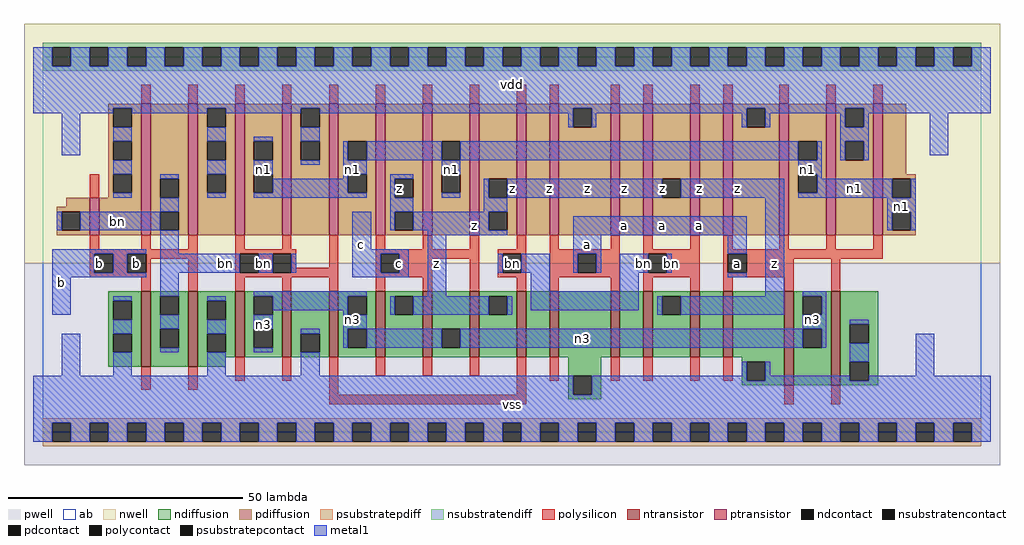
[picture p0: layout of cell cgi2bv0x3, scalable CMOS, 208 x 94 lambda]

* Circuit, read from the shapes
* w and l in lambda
.subckt cgi2bv0x3 a b bn c n1 n3 vdd vss z
M1 bn b vss vss nfet w=16 l=2 m=2
M2 n3 bn vss vss nfet w=14 l=2 m=3
M3 z c n3 vss nfet w=14 l=2 m=3
M4 n2 bn z vss nfet w=14 l=2
M5 vss a n2 vss nfet w=14 l=2
M6 n4 a vss vss nfet w=14 l=2
M7 z bn n4 vss nfet w=14 l=2
M8 n5 bn z vss nfet w=14 l=2
M9 vss a n5 vss nfet w=14 l=2
M10 n3 a vss vss nfet w=20 l=2 m=2
M11 vdd b bn vdd pfet w=8 l=2
M12 bn b vdd vdd pfet w=28 l=2 m=2
M13 n1 bn vdd vdd pfet w=28 l=2 m=3
M14 z c n1 vdd pfet w=28 l=2 m=3
M15 n6 bn z vdd pfet w=28 l=2
M16 vdd a n6 vdd pfet w=28 l=2
M17 n7 a vdd vdd pfet w=28 l=2
M18 z bn n7 vdd pfet w=28 l=2
M19 n8 bn z vdd pfet w=28 l=2
M20 vdd a n8 vdd pfet w=28 l=2
M21 n1 a vdd vdd pfet w=28 l=2 m=3
.ends

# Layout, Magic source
magic
tech scmos
<< ab >>
rect 0 0 200 80
<< pwell >>
rect -4 -7 204 36
<< nwell >>
rect -4 36 204 87
<< polysilicon >>
rect 21 70 23 74
rect 31 70 33 74
rect 41 70 43 74
rect 51 70 53 74
rect 61 70 63 74
rect 71 70 73 74
rect 81 70 83 74
rect 91 70 93 74
rect 101 70 103 74
rect 108 70 110 74
rect 121 70 123 74
rect 128 70 130 74
rect 138 70 140 74
rect 145 70 147 74
rect 157 70 159 74
rect 167 70 169 74
rect 177 70 179 74
rect 10 50 12 55
rect 10 39 12 42
rect 21 39 23 42
rect 31 39 33 42
rect 10 38 33 39
rect 10 34 11 38
rect 15 34 18 38
rect 22 37 33 38
rect 22 34 23 37
rect 10 33 23 34
rect 21 30 23 33
rect 31 30 33 37
rect 41 39 43 42
rect 51 39 53 42
rect 41 38 54 39
rect 41 34 42 38
rect 46 34 49 38
rect 53 35 54 38
rect 61 35 63 42
rect 53 34 63 35
rect 41 33 63 34
rect 41 30 43 33
rect 51 30 53 33
rect 61 30 63 33
rect 71 39 73 42
rect 81 39 83 42
rect 91 39 93 42
rect 101 39 103 42
rect 71 38 93 39
rect 71 34 72 38
rect 76 37 93 38
rect 76 34 83 37
rect 71 33 83 34
rect 71 30 73 33
rect 81 30 83 33
rect 91 30 93 37
rect 97 38 103 39
rect 97 34 98 38
rect 102 34 103 38
rect 97 33 103 34
rect 101 30 103 33
rect 108 39 110 42
rect 121 39 123 42
rect 108 38 123 39
rect 108 34 114 38
rect 118 34 123 38
rect 108 33 123 34
rect 108 30 110 33
rect 121 30 123 33
rect 128 39 130 42
rect 138 39 140 42
rect 128 38 140 39
rect 128 34 129 38
rect 133 34 140 38
rect 128 33 140 34
rect 128 30 130 33
rect 138 30 140 33
rect 145 39 147 42
rect 157 39 159 42
rect 167 39 169 42
rect 177 39 179 42
rect 145 38 179 39
rect 145 34 146 38
rect 150 37 179 38
rect 150 34 160 37
rect 145 33 160 34
rect 145 30 147 33
rect 158 30 160 33
rect 168 30 170 37
rect 21 9 23 14
rect 31 9 33 14
rect 41 11 43 16
rect 51 11 53 16
rect 61 8 63 16
rect 71 12 73 16
rect 81 12 83 16
rect 91 12 93 16
rect 101 8 103 16
rect 108 11 110 16
rect 61 6 103 8
rect 121 11 123 16
rect 128 11 130 16
rect 138 11 140 16
rect 145 11 147 16
rect 158 6 160 10
rect 168 6 170 10
<< ndiffusion >>
rect 14 28 21 30
rect 14 24 15 28
rect 19 24 21 28
rect 14 21 21 24
rect 14 17 15 21
rect 19 17 21 21
rect 14 14 21 17
rect 23 29 31 30
rect 23 25 25 29
rect 29 25 31 29
rect 23 22 31 25
rect 23 18 25 22
rect 29 18 31 22
rect 23 14 31 18
rect 33 28 41 30
rect 33 24 35 28
rect 39 24 41 28
rect 33 21 41 24
rect 33 17 35 21
rect 39 17 41 21
rect 33 16 41 17
rect 43 29 51 30
rect 43 25 45 29
rect 49 25 51 29
rect 43 22 51 25
rect 43 18 45 22
rect 49 18 51 22
rect 43 16 51 18
rect 53 21 61 30
rect 53 17 55 21
rect 59 17 61 21
rect 53 16 61 17
rect 63 29 71 30
rect 63 25 65 29
rect 69 25 71 29
rect 63 22 71 25
rect 63 18 65 22
rect 69 18 71 22
rect 63 16 71 18
rect 73 29 81 30
rect 73 25 75 29
rect 79 25 81 29
rect 73 16 81 25
rect 83 22 91 30
rect 83 18 85 22
rect 89 18 91 22
rect 83 16 91 18
rect 93 29 101 30
rect 93 25 95 29
rect 99 25 101 29
rect 93 16 101 25
rect 103 16 108 30
rect 110 16 121 30
rect 123 16 128 30
rect 130 29 138 30
rect 130 25 132 29
rect 136 25 138 29
rect 130 16 138 25
rect 140 16 145 30
rect 147 16 158 30
rect 33 14 39 16
rect 112 12 119 16
rect 112 8 113 12
rect 117 8 119 12
rect 149 15 158 16
rect 149 11 150 15
rect 154 11 158 15
rect 149 10 158 11
rect 160 29 168 30
rect 160 25 162 29
rect 166 25 168 29
rect 160 22 168 25
rect 160 18 162 22
rect 166 18 168 22
rect 160 10 168 18
rect 170 23 178 30
rect 170 19 172 23
rect 176 19 178 23
rect 170 15 178 19
rect 170 11 172 15
rect 176 11 178 15
rect 170 10 178 11
rect 112 7 119 8
<< pdiffusion >>
rect 14 69 21 70
rect 14 65 15 69
rect 19 65 21 69
rect 14 62 21 65
rect 14 58 15 62
rect 19 58 21 62
rect 14 55 21 58
rect 14 51 15 55
rect 19 51 21 55
rect 14 50 21 51
rect 5 48 10 50
rect 3 47 10 48
rect 3 43 4 47
rect 8 43 10 47
rect 3 42 10 43
rect 12 42 21 50
rect 23 54 31 70
rect 23 50 25 54
rect 29 50 31 54
rect 23 47 31 50
rect 23 43 25 47
rect 29 43 31 47
rect 23 42 31 43
rect 33 69 41 70
rect 33 65 35 69
rect 39 65 41 69
rect 33 62 41 65
rect 33 58 35 62
rect 39 58 41 62
rect 33 55 41 58
rect 33 51 35 55
rect 39 51 41 55
rect 33 42 41 51
rect 43 62 51 70
rect 43 58 45 62
rect 49 58 51 62
rect 43 55 51 58
rect 43 51 45 55
rect 49 51 51 55
rect 43 42 51 51
rect 53 69 61 70
rect 53 65 55 69
rect 59 65 61 69
rect 53 62 61 65
rect 53 58 55 62
rect 59 58 61 62
rect 53 42 61 58
rect 63 62 71 70
rect 63 58 65 62
rect 69 58 71 62
rect 63 55 71 58
rect 63 51 65 55
rect 69 51 71 55
rect 63 42 71 51
rect 73 54 81 70
rect 73 50 75 54
rect 79 50 81 54
rect 73 47 81 50
rect 73 43 75 47
rect 79 43 81 47
rect 73 42 81 43
rect 83 62 91 70
rect 83 58 85 62
rect 89 58 91 62
rect 83 55 91 58
rect 83 51 85 55
rect 89 51 91 55
rect 83 42 91 51
rect 93 54 101 70
rect 93 50 95 54
rect 99 50 101 54
rect 93 47 101 50
rect 93 43 95 47
rect 99 43 101 47
rect 93 42 101 43
rect 103 42 108 70
rect 110 69 121 70
rect 110 65 113 69
rect 117 65 121 69
rect 110 42 121 65
rect 123 42 128 70
rect 130 54 138 70
rect 130 50 132 54
rect 136 50 138 54
rect 130 42 138 50
rect 140 42 145 70
rect 147 69 157 70
rect 147 65 150 69
rect 154 65 157 69
rect 147 42 157 65
rect 159 62 167 70
rect 159 58 161 62
rect 165 58 167 62
rect 159 55 167 58
rect 159 51 161 55
rect 165 51 167 55
rect 159 42 167 51
rect 169 69 177 70
rect 169 65 171 69
rect 175 65 177 69
rect 169 62 177 65
rect 169 58 171 62
rect 175 58 177 62
rect 169 42 177 58
rect 179 55 184 70
rect 179 54 186 55
rect 179 50 181 54
rect 185 50 186 54
rect 179 47 186 50
rect 179 43 181 47
rect 185 43 186 47
rect 179 42 186 43
<< metal1 >>
rect -2 78 2 82
rect 6 78 10 82
rect 14 78 18 82
rect 22 78 26 82
rect 30 78 34 82
rect 38 78 42 82
rect 46 78 50 82
rect 54 78 58 82
rect 62 78 66 82
rect 70 78 74 82
rect 78 78 82 82
rect 86 78 90 82
rect 94 78 98 82
rect 102 78 106 82
rect 110 78 114 82
rect 118 78 122 82
rect 126 78 130 82
rect 134 78 138 82
rect 142 78 146 82
rect 150 78 154 82
rect 158 78 162 82
rect 166 78 170 82
rect 174 78 178 82
rect 182 78 186 82
rect 190 78 194 82
rect 198 78 202 82
rect -2 69 202 78
rect -2 68 15 69
rect 4 59 8 68
rect 19 68 35 69
rect 15 62 19 65
rect 15 55 19 58
rect 39 68 55 69
rect 35 62 39 65
rect 59 68 113 69
rect 112 65 113 68
rect 117 68 150 69
rect 117 65 118 68
rect 149 65 150 68
rect 154 68 171 69
rect 154 65 155 68
rect 170 65 171 68
rect 175 68 202 69
rect 175 65 176 68
rect 35 55 39 58
rect 15 50 19 51
rect 25 54 29 55
rect 35 50 39 51
rect 45 62 49 63
rect 45 55 49 58
rect 55 62 59 65
rect 170 62 176 65
rect 55 57 59 58
rect 64 58 65 62
rect 69 58 85 62
rect 89 58 161 62
rect 165 58 166 62
rect 170 58 171 62
rect 175 58 176 62
rect 189 59 193 68
rect 64 55 69 58
rect 85 55 89 58
rect 64 54 65 55
rect 49 51 65 54
rect 45 50 69 51
rect 74 54 79 55
rect 74 50 75 54
rect 161 55 166 58
rect 85 50 89 51
rect 94 50 95 54
rect 99 50 132 54
rect 136 50 158 54
rect 165 54 166 55
rect 165 51 181 54
rect 161 50 181 51
rect 185 50 186 54
rect 25 47 29 50
rect 74 47 79 50
rect 94 47 99 50
rect 3 43 4 47
rect 8 43 25 47
rect 2 38 22 39
rect 2 34 11 38
rect 15 34 18 38
rect 2 33 22 34
rect 25 38 29 43
rect 66 39 70 47
rect 74 43 75 47
rect 79 43 95 47
rect 82 42 99 43
rect 113 42 150 46
rect 66 38 78 39
rect 25 34 42 38
rect 46 34 49 38
rect 53 34 54 38
rect 66 34 72 38
rect 76 34 78 38
rect 2 25 6 33
rect 25 29 29 34
rect 66 33 78 34
rect 45 29 69 30
rect 82 29 86 42
rect 113 38 119 42
rect 146 38 150 42
rect 97 34 98 38
rect 102 34 108 38
rect 113 34 114 38
rect 118 34 119 38
rect 123 34 129 38
rect 133 34 134 38
rect 104 30 108 34
rect 123 30 127 34
rect 146 33 150 34
rect 15 28 19 29
rect 15 21 19 24
rect 4 12 8 21
rect 25 22 29 25
rect 25 17 29 18
rect 35 28 39 29
rect 35 21 39 24
rect 49 26 65 29
rect 45 22 49 25
rect 64 25 65 26
rect 74 25 75 29
rect 79 25 95 29
rect 99 25 100 29
rect 104 26 127 30
rect 154 29 158 50
rect 180 47 186 50
rect 180 43 181 47
rect 185 43 186 47
rect 131 25 132 29
rect 136 25 158 29
rect 162 29 167 30
rect 166 25 167 29
rect 64 22 69 25
rect 162 22 167 25
rect 45 17 49 18
rect 55 21 59 22
rect 64 18 65 22
rect 69 18 85 22
rect 89 18 162 22
rect 166 18 167 22
rect 172 23 176 24
rect 15 12 19 17
rect 35 12 39 17
rect 55 12 59 17
rect 172 15 176 19
rect 149 12 150 15
rect -2 8 113 12
rect 117 11 150 12
rect 154 12 155 15
rect 154 11 172 12
rect 186 12 190 21
rect 176 11 202 12
rect 117 8 202 11
rect -2 2 202 8
rect -2 -2 2 2
rect 6 -2 10 2
rect 14 -2 18 2
rect 22 -2 26 2
rect 30 -2 34 2
rect 38 -2 42 2
rect 46 -2 50 2
rect 54 -2 58 2
rect 62 -2 66 2
rect 70 -2 74 2
rect 78 -2 82 2
rect 86 -2 90 2
rect 94 -2 98 2
rect 102 -2 106 2
rect 110 -2 114 2
rect 118 -2 122 2
rect 126 -2 130 2
rect 134 -2 138 2
rect 142 -2 146 2
rect 150 -2 154 2
rect 158 -2 162 2
rect 166 -2 170 2
rect 174 -2 178 2
rect 182 -2 186 2
rect 190 -2 194 2
rect 198 -2 202 2
<< ntransistor >>
rect 21 14 23 30
rect 31 14 33 30
rect 41 16 43 30
rect 51 16 53 30
rect 61 16 63 30
rect 71 16 73 30
rect 81 16 83 30
rect 91 16 93 30
rect 101 16 103 30
rect 108 16 110 30
rect 121 16 123 30
rect 128 16 130 30
rect 138 16 140 30
rect 145 16 147 30
rect 158 10 160 30
rect 168 10 170 30
<< ptransistor >>
rect 10 42 12 50
rect 21 42 23 70
rect 31 42 33 70
rect 41 42 43 70
rect 51 42 53 70
rect 61 42 63 70
rect 71 42 73 70
rect 81 42 83 70
rect 91 42 93 70
rect 101 42 103 70
rect 108 42 110 70
rect 121 42 123 70
rect 128 42 130 70
rect 138 42 140 70
rect 145 42 147 70
rect 157 42 159 70
rect 167 42 169 70
rect 177 42 179 70
<< polycontact >>
rect 11 34 15 38
rect 18 34 22 38
rect 42 34 46 38
rect 49 34 53 38
rect 72 34 76 38
rect 98 34 102 38
rect 114 34 118 38
rect 129 34 133 38
rect 146 34 150 38
<< ndcontact >>
rect 15 24 19 28
rect 15 17 19 21
rect 25 25 29 29
rect 25 18 29 22
rect 35 24 39 28
rect 35 17 39 21
rect 45 25 49 29
rect 45 18 49 22
rect 55 17 59 21
rect 65 25 69 29
rect 65 18 69 22
rect 75 25 79 29
rect 85 18 89 22
rect 95 25 99 29
rect 132 25 136 29
rect 113 8 117 12
rect 150 11 154 15
rect 162 25 166 29
rect 162 18 166 22
rect 172 19 176 23
rect 172 11 176 15
<< pdcontact >>
rect 15 65 19 69
rect 15 58 19 62
rect 15 51 19 55
rect 4 43 8 47
rect 25 50 29 54
rect 25 43 29 47
rect 35 65 39 69
rect 35 58 39 62
rect 35 51 39 55
rect 45 58 49 62
rect 45 51 49 55
rect 55 65 59 69
rect 55 58 59 62
rect 65 58 69 62
rect 65 51 69 55
rect 75 50 79 54
rect 75 43 79 47
rect 85 58 89 62
rect 85 51 89 55
rect 95 50 99 54
rect 95 43 99 47
rect 113 65 117 69
rect 132 50 136 54
rect 150 65 154 69
rect 161 58 165 62
rect 161 51 165 55
rect 171 65 175 69
rect 171 58 175 62
rect 181 50 185 54
rect 181 43 185 47
<< psubstratepcontact >>
rect 2 -2 6 2
rect 10 -2 14 2
rect 18 -2 22 2
rect 26 -2 30 2
rect 34 -2 38 2
rect 42 -2 46 2
rect 50 -2 54 2
rect 58 -2 62 2
rect 66 -2 70 2
rect 74 -2 78 2
rect 82 -2 86 2
rect 90 -2 94 2
rect 98 -2 102 2
rect 106 -2 110 2
rect 114 -2 118 2
rect 122 -2 126 2
rect 130 -2 134 2
rect 138 -2 142 2
rect 146 -2 150 2
rect 154 -2 158 2
rect 162 -2 166 2
rect 170 -2 174 2
rect 178 -2 182 2
rect 186 -2 190 2
rect 194 -2 198 2
<< nsubstratencontact >>
rect 2 78 6 82
rect 10 78 14 82
rect 18 78 22 82
rect 26 78 30 82
rect 34 78 38 82
rect 42 78 46 82
rect 50 78 54 82
rect 58 78 62 82
rect 66 78 70 82
rect 74 78 78 82
rect 82 78 86 82
rect 90 78 94 82
rect 98 78 102 82
rect 106 78 110 82
rect 114 78 118 82
rect 122 78 126 82
rect 130 78 134 82
rect 138 78 142 82
rect 146 78 150 82
rect 154 78 158 82
rect 162 78 166 82
rect 170 78 174 82
rect 178 78 182 82
rect 186 78 190 82
rect 194 78 198 82
<< psubstratepdiff >>
rect 0 2 200 3
rect 0 -2 2 2
rect 6 -2 10 2
rect 14 -2 18 2
rect 22 -2 26 2
rect 30 -2 34 2
rect 38 -2 42 2
rect 46 -2 50 2
rect 54 -2 58 2
rect 62 -2 66 2
rect 70 -2 74 2
rect 78 -2 82 2
rect 86 -2 90 2
rect 94 -2 98 2
rect 102 -2 106 2
rect 110 -2 114 2
rect 118 -2 122 2
rect 126 -2 130 2
rect 134 -2 138 2
rect 142 -2 146 2
rect 150 -2 154 2
rect 158 -2 162 2
rect 166 -2 170 2
rect 174 -2 178 2
rect 182 -2 186 2
rect 190 -2 194 2
rect 198 -2 200 2
rect 0 -3 200 -2
<< nsubstratendiff >>
rect 0 82 200 83
rect 0 78 2 82
rect 6 78 10 82
rect 14 78 18 82
rect 22 78 26 82
rect 30 78 34 82
rect 38 78 42 82
rect 46 78 50 82
rect 54 78 58 82
rect 62 78 66 82
rect 70 78 74 82
rect 78 78 82 82
rect 86 78 90 82
rect 94 78 98 82
rect 102 78 106 82
rect 110 78 114 82
rect 118 78 122 82
rect 126 78 130 82
rect 134 78 138 82
rect 142 78 146 82
rect 150 78 154 82
rect 158 78 162 82
rect 166 78 170 82
rect 174 78 178 82
rect 182 78 186 82
rect 190 78 194 82
rect 198 78 200 82
rect 0 77 200 78
<< labels >>
rlabel polysilicon 47 36 47 36 6 bn
rlabel polycontact 100 36 100 36 6 bn
rlabel polysilicon 134 36 134 36 6 bn
rlabel polycontact 20 36 20 36 6 b
rlabel polycontact 12 36 12 36 6 b
rlabel metal1 4 32 4 32 6 b
rlabel metal1 16 45 16 45 6 bn
rlabel metal1 47 23 47 23 6 n3
rlabel metal1 39 36 39 36 6 bn
rlabel metal1 47 56 47 56 6 n1
rlabel metal1 66 24 66 24 6 n3
rlabel metal1 84 36 84 36 6 z
rlabel metal1 76 36 76 36 6 c
rlabel metal1 92 44 92 44 6 z
rlabel metal1 68 40 68 40 6 c
rlabel pdcontact 76 52 76 52 6 z
rlabel metal1 87 56 87 56 6 n1
rlabel metal1 66 56 66 56 6 n1
rlabel metal1 100 6 100 6 6 vss
rlabel metal1 102 36 102 36 6 bn
rlabel metal1 128 36 128 36 6 bn
rlabel metal1 116 40 116 40 6 a
rlabel metal1 124 44 124 44 6 a
rlabel metal1 132 44 132 44 6 a
rlabel metal1 100 52 100 52 6 z
rlabel metal1 124 52 124 52 6 z
rlabel metal1 132 52 132 52 6 z
rlabel metal1 116 52 116 52 6 z
rlabel metal1 108 52 108 52 6 z
rlabel metal1 100 74 100 74 6 vdd
rlabel metal1 115 20 115 20 6 n3
rlabel metal1 164 24 164 24 6 n3
rlabel polycontact 148 36 148 36 6 a
rlabel metal1 156 36 156 36 6 z
rlabel metal1 140 44 140 44 6 a
rlabel metal1 140 52 140 52 6 z
rlabel metal1 148 52 148 52 6 z
rlabel metal1 163 56 163 56 6 n1
rlabel metal1 173 52 173 52 6 n1
rlabel metal1 183 48 183 48 6 n1
<< end >>
